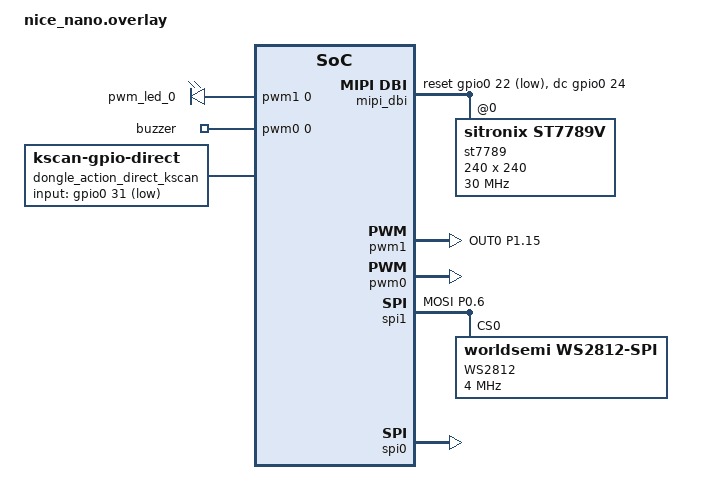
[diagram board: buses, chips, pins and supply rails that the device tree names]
#include <dt-bindings/led/led.h>
#include <dt-bindings/zmk/matrix_transform.h>
#include <dt-bindings/zmk/keys.h>

&pinctrl {
	spi1_default: spi1_default {
		group1 {
			psels = <NRF_PSEL(SPIM_MOSI, 0, 6)>;
		};
	};

	spi1_sleep: spi1_sleep {
		group1 {
			psels = <NRF_PSEL(SPIM_MOSI, 0, 6)>;
			low-power-enable;
		};
	};

    pwm0_default: pwm0_default {
        group1 {
            psels = <NRF_PSEL(PWM_OUT0, 0, 29)>, /* buzzer */
        };
    };
    pwm0_sleep: pwm0_sleep {
        group1 {
            psels = <NRF_PSEL(PWM_OUT0, 0, 29)>, /* buzzer */
            low-power-enable;
        };
    };

	pwm1_default: pwm1_default {
        group1 {
            psels = <NRF_PSEL(PWM_OUT0, 1, 15)>;
        };
    };

    pwm1_sleep: pwm1_sleep {
        group1 {
            psels = <NRF_PSEL(PWM_OUT0, 1, 15)>;
            low-power-enable;
        };
    };
};

/ {
    lcd_backlight: pwmleds {
        compatible = "pwm-leds";
        label = "Backlight LEDs";
        pwm_led_0: pwm_led_0 {
            pwms = <&pwm1 0 PWM_MSEC(10) PWM_POLARITY_NORMAL>;
        };
    };

    behaviors {
        dongle_action_behavior: dongle_action_behavior {
            compatible = "zmk,behavior-dongle-action";
            #binding-cells = <0>;
        };
    };

	pwmbuzzer {
        compatible = "pwm-leds";
        buzzer: buzzer_pwm {
            pwms = <&pwm0 0 PWM_MSEC(10) PWM_POLARITY_NORMAL>;
        };
    };

    dongle_action_direct_kscan: dongle_action_direct_kscan {
        compatible = "zmk,kscan-gpio-direct";
	    input-gpios
	        = <&gpio0 31 (GPIO_ACTIVE_LOW | GPIO_PULL_UP)>
	        ;
    };

    dongle_action_sideband_behaviors {
        compatible = "zmk,kscan-sideband-behaviors";
        kscan = <&dongle_action_direct_kscan>;
		auto-enable;
        dongle_action_sideband: dongle_action_sideband {
            row = <0>;
            column = <0>;
            bindings = <&dongle_action_behavior>;
        };
    };

};

/* Enable the PWM1 hardware */
&pwm1 {
    status = "okay";
    pinctrl-0 = <&pwm1_default>;
    pinctrl-1 = <&pwm1_sleep>;
    pinctrl-names = "default", "sleep";
};

/* Enable the PWM0 hardware */
&pwm0 {
    status = "okay";
    pinctrl-0 = <&pwm0_default>;
    pinctrl-1 = <&pwm0_sleep>;
    pinctrl-names = "default", "sleep";
};

&spi1 {
	compatible = "nordic,nrf-spim";
	status = "okay";

	pinctrl-0 = <&spi1_default>;
	pinctrl-1 = <&spi1_sleep>;
	pinctrl-names = "default", "sleep";

	led_strip: ws2812@0 {
		compatible = "worldsemi,ws2812-spi";
		label = "WS2812";

		/* SPI */
		reg = <0>; /* ignored, but necessary for SPI bindings */
		spi-max-frequency = <4000000>;

		/* WS2812 */
		chain-length = <10>; /* arbitrary; change at will */
		spi-one-frame = <0x70>;
		spi-zero-frame = <0x40>;

		color-mapping = <LED_COLOR_ID_GREEN LED_COLOR_ID_RED LED_COLOR_ID_BLUE>;
	};
};

disp_spi: &spi0 {
	status = "okay";
	pinctrl-0 = <&spi0_default>;
	pinctrl-1 = <&spi0_sleep>;
	cs-gpios = <&gpio0 11 GPIO_ACTIVE_LOW>;
	pinctrl-names = "default", "sleep";
};

/ {
   mipi_dbi {
       compatible = "zephyr,mipi-dbi-spi";
       spi-dev = <&spi0>;
       dc-gpios = <&gpio0 24 GPIO_ACTIVE_HIGH>;
       reset-gpios = <&gpio0 22 GPIO_ACTIVE_LOW>;
       write-only;
       #address-cells = <1>;
       #size-cells = <0>;

       st7789: st7789v@0 {
           compatible = "sitronix,st7789v";
           mipi-max-frequency = <30000000>;
           mipi-mode = "MIPI_DBI_MODE_SPI_4WIRE";
           reg = <0>;
           width = <240>;
           height = <240>;
           x-offset = <0>;
           y-offset = <0>;
           vcom = <0x19>;
           gctrl = <0x35>;
           vrhs = <0x12>;
           vdvs = <0x20>;
           mdac = <0x00>;
           gamma = <0x01>;
           colmod = <0x05>;
           lcm = <0x2c>;
           porch-param = [ 0c 0c 00 33 33  ];
           cmd2en-param = [ 5a 69 02 01  ];
           pwctrl1-param = [ a4 a1  ];
           pvgam-param = [ D0 04 0D 11 13 2B 3F 54 4C 18 0D 0B 1F 23  ];
           nvgam-param = [ D0 04 0C 11 13 2C 3F 44 51 2F 1F 1F 20 23  ];
           ram-param = [ 00 F0  ];
           rgb-param = [ CD 08 14  ];
       };
   };
};

/ {
	chosen {
        zmk,backlight = &lcd_backlight;
		zephyr,display = &st7789;
		zephyr,buzzer = &buzzer;
	};
};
